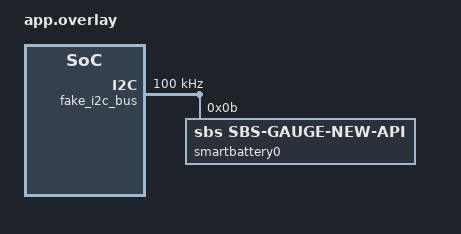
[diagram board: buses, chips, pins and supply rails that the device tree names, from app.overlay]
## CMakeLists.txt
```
# SPDX-License-Identifier: Apache-2.0

cmake_minimum_required(VERSION 3.20.0)
find_package(Zephyr REQUIRED HINTS $ENV{ZEPHYR_BASE})
project(tasks_battery)

target_sources(app PRIVATE
  src/main.c
)
```

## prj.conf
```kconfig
CONFIG_ZTEST=y
CONFIG_TEST_RANDOM_GENERATOR=y
CONFIG_INFUSE_SDK=y
CONFIG_KV_STORE_KEY_TASK_SCHEDULES=n

CONFIG_TDF_DATA_LOGGER_SERIAL_DUMMY_BACKEND=y

CONFIG_TASK_RUNNER=y
CONFIG_TASK_RUNNER_TASK_BATTERY=y
CONFIG_TASK_BATTERY_LOG_LEVEL_DBG=y

CONFIG_EMUL=y
CONFIG_FUEL_GAUGE=y
```

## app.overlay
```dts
/ {
	fake_i2c_bus: i2c@100 {
		status = "okay";
		compatible = "zephyr,i2c-emul-controller";
		clock-frequency = <I2C_BITRATE_STANDARD>;
		#address-cells = <1>;
		#size-cells = <0>;
		reg = <0x100 4>;
	};

	data_logger_dummy: data_logger_dummy {
		compatible = "embeint,data-logger-epacket", "embeint,data-logger";
		epacket = <&epacket_dummy>;

		tdf_logger_dummy: tdf_logger_dummy {
			compatible = "embeint,tdf-data-logger";
		};
	};

	epacket_dummy: epacket_dummy {
		compatible = "embeint,epacket-dummy";
		zephyr,pm-device-runtime-auto;
	};
};

&fake_i2c_bus {
	smartbattery0: smartbattery@b {
		compatible = "sbs,sbs-gauge-new-api";
		reg = <0x0B>;
		status = "okay";
	};
};
```

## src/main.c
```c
/**
 * @file
 * @copyright 2024 Embeint Holdings Pty Ltd
 * @author Jordan Yates <jordan@embeint.com>
 *
 * SPDX-License-Identifier: FSL-1.1-ALv2
 */

#include <stdint.h>

#include <zephyr/ztest.h>
#include <zephyr/kernel.h>
#include <zephyr/drivers/emul.h>
#include <zephyr/drivers/emul_fuel_gauge.h>

#include <infuse/epacket/packet.h>
#include <infuse/epacket/interface/epacket_dummy.h>
#include <infuse/data_logger/logger.h>
#include <infuse/data_logger/high_level/tdf.h>
#include <infuse/states.h>
#include <infuse/tdf/tdf.h>
#include <infuse/zbus/channels.h>

#include <infuse/task_runner/task.h>
#include <infuse/task_runner/runner.h>
#include <infuse/task_runner/tasks/battery.h>

#define DEV      DEVICE_DT_GET_ANY(sbs_sbs_gauge_new_api)
#define EMUL_DEV EMUL_DT_GET(DT_NODELABEL(smartbattery0))
BATTERY_TASK(1, 0, DEV);
struct task_config config = BATTERY_TASK(0, 1, DEV);
struct task_data data;
struct task_schedule schedule;
struct task_schedule_state state;

static K_SEM_DEFINE(bat_published, 0, 1);

static void bat_new_data_cb(const struct zbus_channel *chan);

INFUSE_ZBUS_CHAN_DECLARE(INFUSE_ZBUS_CHAN_BATTERY);
ZBUS_LISTENER_DEFINE(bat_listener, bat_new_data_cb);
ZBUS_CHAN_ADD_OBS(INFUSE_ZBUS_NAME(INFUSE_ZBUS_CHAN_BATTERY), bat_listener, 5);
#define ZBUS_CHAN INFUSE_ZBUS_CHAN_GET(INFUSE_ZBUS_CHAN_BATTERY)

static void bat_new_data_cb(const struct zbus_channel *chan)
{
	k_sem_give(&bat_published);
}

static void task_schedule(struct task_data *data)
{
	data->schedule_idx = 0;
	data->executor.workqueue.reschedule_counter = 0;
	k_poll_signal_init(&data->terminate_signal);
	k_work_reschedule(&data->executor.workqueue.work, K_NO_WAIT);
}

static void expect_logging(uint8_t log_mask, uint32_t battery_uv, int32_t current_ua, uint8_t soc)
{
	struct k_fifo *tx_queue = epacket_dummmy_transmit_fifo_get();
	struct tdf_parsed tdf;
	struct net_buf *pkt;
	int rc;

	tdf_data_logger_flush(TDF_DATA_LOGGER_SERIAL);
	pkt = k_fifo_get(tx_queue, K_MSEC(10));
	if (log_mask == 0) {
		zassert_is_null(pkt);
		return;
	}

	zassert_not_null(pkt);

	net_buf_pull(pkt, sizeof(struct epacket_dummy_frame));

	rc = tdf_parse_find_in_buf(pkt->data, pkt->len, TDF_BATTERY_STATE, &tdf);
	if (log_mask & TASK_BATTERY_LOG_COMPLETE) {
		struct tdf_battery_state *state;

		zassert_equal(0, rc);
		state = tdf.data;

		zassert_equal(battery_uv / 1000, state->voltage_mv);
		zassert_equal(current_ua, state->current_ua);
		zassert_equal(soc, state->soc);
	} else {
		zassert_equal(-ENOMEM, rc);
	}
	rc = tdf_parse_find_in_buf(pkt->data, pkt->len, TDF_BATTERY_VOLTAGE, &tdf);
	if (log_mask & TASK_BATTERY_LOG_VOLTAGE) {
		struct tdf_battery_voltage *state;

		zassert_equal(0, rc);
		state = tdf.data;

		zassert_equal(battery_uv / 1000, state->voltage);
	} else {
		zassert_equal(-ENOMEM, rc);
	}
	rc = tdf_parse_find_in_buf(pkt->data, pkt->len, TDF_BATTERY_SOC, &tdf);
	if (log_mask & TASK_BATTERY_LOG_SOC) {
		struct tdf_battery_soc *state;

		zassert_equal(0, rc);
		state = tdf.data;

		zassert_equal(soc, state->soc);
	} else {
		zassert_equal(-ENOMEM, rc);
	}

	net_buf_unref(pkt);
}

static void test_battery(uint32_t battery_uv, int32_t current_ua, uint8_t log_mask)
{
	INFUSE_ZBUS_TYPE(INFUSE_ZBUS_CHAN_BATTERY) battery_reading;
	uint32_t pub_count;

	schedule.task_logging[0].tdf_mask = log_mask;
	schedule.task_logging[0].loggers = TDF_DATA_LOGGER_SERIAL;

	/* Configure emulator */
	emul_fuel_gauge_set_battery_charging(EMUL_DEV, battery_uv, current_ua);

	/* Clear state */
	pub_count = zbus_chan_pub_stats_count(ZBUS_CHAN);
	(void)k_sem_take(&bat_published, K_NO_WAIT);

	/* Schedule task */
	task_schedule(&data);

	k_sleep(K_MSEC(500));

	/* Task should be complete */
	zassert_equal(0, k_work_delayable_busy_get(&data.executor.workqueue.work));
	zassert_equal(pub_count + 1, zbus_chan_pub_stats_count(ZBUS_CHAN));
	zbus_chan_read(ZBUS_CHAN, &battery_reading, K_FOREVER);
	zassert_equal(battery_uv / 1000, battery_reading.voltage_mv);
	zassert_equal(current_ua, battery_reading.current_ua);
	zassert_equal(1, battery_reading.soc);

	expect_logging(log_mask, battery_uv, current_ua, 1);
}

ZTEST(task_bat, test_no_log)
{
	schedule = (struct task_schedule){
		.task_id = TASK_ID_BATTERY,
		.validity = TASK_VALID_ALWAYS,
	};

	/* Setup links between task config and data */
	task_runner_init(&schedule, &state, 1, &config, &data, 1);

	test_battery(3700000, 10000, 0);
	test_battery(3501000, -15000, 0);
}

ZTEST(task_bat, test_log)
{
	uint8_t log_all =
		TASK_BATTERY_LOG_COMPLETE | TASK_BATTERY_LOG_VOLTAGE | TASK_BATTERY_LOG_SOC;

	schedule = (struct task_schedule){
		.task_id = TASK_ID_BATTERY,
		.validity = TASK_VALID_ALWAYS,
	};

	/* Setup links between task config and data */
	task_runner_init(&schedule, &state, 1, &config, &data, 1);

	test_battery(3700000, 10000, TASK_BATTERY_LOG_COMPLETE);
	test_battery(3501000, -15000, TASK_BATTERY_LOG_COMPLETE);

	test_battery(4200000, 18000, TASK_BATTERY_LOG_VOLTAGE);
	test_battery(4201000, -7000, TASK_BATTERY_LOG_VOLTAGE);

	test_battery(3600000, 15000, log_all);
	test_battery(3601000, -10000, log_all);
}

ZTEST(task_bat, test_periodic)
{
	INFUSE_STATES_ARRAY(app_states) = {0};
	uint32_t gps_time = 7000;
	uint32_t uptime = 0;
	uint32_t base_count, pub_count;

	schedule = (struct task_schedule){
		.task_id = TASK_ID_BATTERY,
		.validity = TASK_VALID_ALWAYS,
		.periodicity_type = TASK_PERIODICITY_FIXED,
		.periodicity.fixed.period_s = 10,
		.timeout_s = 5,
		.task_args.battery =
			{
				.repeat_interval_ms = 990,
			},
	};

	/* Configure emulator */
	emul_fuel_gauge_set_battery_charging(EMUL_DEV, 3700000, 1000);

	/* Setup links between task config and data */
	task_runner_init(&schedule, &state, 1, &config, &data, 1);

	/* Get initial count */
	base_count = zbus_chan_pub_stats_count(ZBUS_CHAN);

	/* Iterate for 7 seconds */
	for (int i = 0; i < 8; i++) {
		task_runner_iterate(app_states, uptime++, gps_time++, 100);
		k_sleep(K_SECONDS(1));
	}

	/* Task should no longer be running (terminated by runner on timeout) */
	zassert_equal(0, k_work_delayable_busy_get(&data.executor.workqueue.work));

	/* Expect 6 publishes over the time period (1 at start, 5 rescheduled before timeout) */
	pub_count = zbus_chan_pub_stats_count(ZBUS_CHAN);
	zassert_equal(base_count + 6, pub_count);
}

static void logger_before(void *fixture)
{
	struct k_fifo *tx_queue = epacket_dummmy_transmit_fifo_get();
	struct net_buf *pkt;

	tdf_data_logger_flush(TDF_DATA_LOGGER_SERIAL);
	pkt = k_fifo_get(tx_queue, K_MSEC(10));
	if (pkt) {
		net_buf_unref(pkt);
	}
	k_sem_reset(&bat_published);
}

ZTEST_SUITE(task_bat, NULL, NULL, logger_before, NULL, NULL);
```
